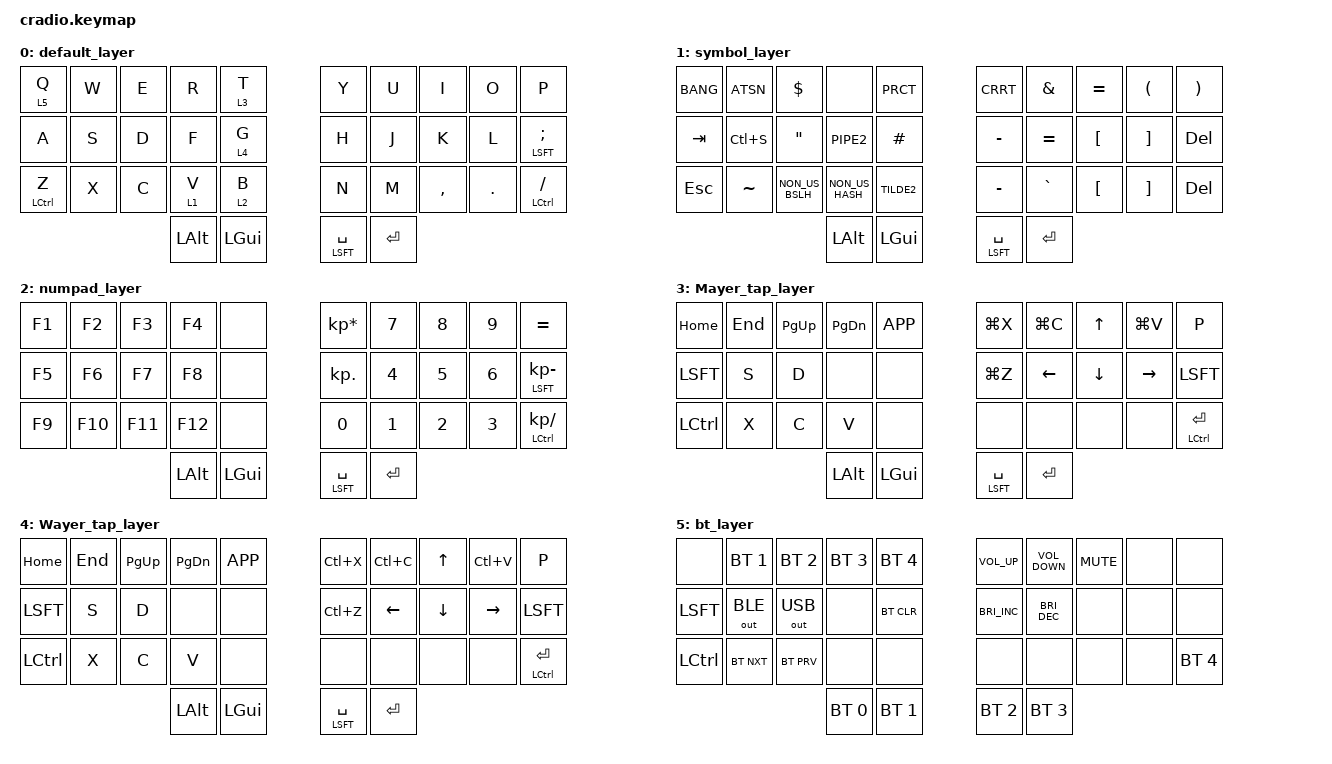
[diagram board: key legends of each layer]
/*
 * Copyright (c) 2020 The ZMK Contributors
 *
 * SPDX-License-Identifier: MIT
 */

#include <behaviors.dtsi>
#include <dt-bindings/zmk/keys.h>
#include <dt-bindings/zmk/bt.h>
#include <dt-bindings/zmk/outputs.h>


&mt {
    flavor = "tap-preferred";
   tapping_term_ms = <200>;
};
&lt {
   flavor = "hold-preferred";
    tapping_term_ms = <200>;
};
/ { 

    combos {
        compatible = "zmk,combos";
        combo_esc {
            timeout-ms = <50>;
            key-positions = <0 1>;
            bindings = <&kp ESC>;
        }; 

        combo_tilde {
            timeout-ms = <50>;
            key-positions = <1 2>;
            bindings = <&kp GRAVE>;
        };        
        combo_quote {
            timeout-ms = <50>;
            key-positions = <2 3>;
            bindings = <&kp SINGLE_QUOTE>;
        };        
        combo_bspc2 {
            timeout-ms = <50>;
            key-positions = <3 4>;
            bindings = <&kp BSPC>;
        };
           combo_tab {
            timeout-ms = <50>;
            key-positions = <10 11>;
            bindings = <&kp TAB>;
        };






        combo_bspc {
            timeout-ms = <50>;
            key-positions = <6 7>;
            bindings = <&kp BSPC>;
        };

           combo_del {
            timeout-ms = <50>;
            key-positions = <7 8>;
            bindings = <&kp DEL>;
        };
           combo_pipe {
            timeout-ms = <50>;
            key-positions = <8 9>;
            bindings = <&kp BSLH>;
        };
        
           combo_dash {
            timeout-ms = <50>;
            key-positions = <15 16>;
            bindings = <&kp MINUS>;
        };


           combo_qmrk {
            timeout-ms = <50>;
            key-positions = <17 18>;
            bindings = <&kp QMARK>;
        };


        combo_excl {
            timeout-ms = <50>;
            key-positions = <16 17 18>;
            bindings = <&kp EXCL>;
        };

           combo_lpar {
            timeout-ms = <50>;
            key-positions = <26 27>;
            bindings = <&kp LPAR>;
        };

           combo_rpar {
            timeout-ms = <50>;
            key-positions = <27 28>;
            bindings = <&kp RPAR>;
        };
           combo_lbr {
            timeout-ms = <50>;
            key-positions = <25 26 27>;
            bindings = <&kp LEFT_BRACKET>;
        };

           combo_rbr {
            timeout-ms = <50>;
            key-positions = <26 27 28>;
            bindings = <&kp RIGHT_BRACKET>;
        };
    };




        keymap {
                compatible = "zmk,keymap";            
       	default_layer {
		bindings = <
		&lt 5 Q           &kp W           &kp E           &kp R         &lt 3 T 		    &kp Y           &kp U           &kp I           &kp O       &kp P 
		&kp A      &kp S           &kp D           &kp F       &lt 4 G	   	    &kp H           &kp J           &kp K           &kp L       &mt LSFT SEMI
		&mt LCTRL Z     &kp X           &kp C           &lt 1 V       &lt 2 B 		    &kp N           &kp M           &kp CMMA        &kp DOT     &mt LCTRL FSLH
          				                                &kp LALT      &kp LGUI  		&mt LSFT SPACE       &kp RET 
		>;
		};

       	symbol_layer {
		bindings = <
        &kp BANG        &kp ATSN        &kp DLLR        &none        &kp PRCT    	    &kp CRRT        &kp AMPS        &kp EQUAL        &kp LPRN        &kp RPRN 
		&kp TAB         &kp LC(S)       &kp DQT         &kp PIPE2       &kp HASH		&kp MINUS       &kp EQL         &kp LBKT        &kp RBKT        &kp DEL 
		&kp ESC         &kp TILDE 	    &kp NON_US_BSLH &kp NON_US_HASH &kp TILDE2 		&kp MINUS       &kp GRAVE       &kp LBKT        &kp RBKT        &kp DEL 
					                    	            &kp LALT        &kp LGUI 		&mt LSFT SPACE       &kp RET
		>;
		};

		
		numpad_layer {
		bindings = <
		&kp F1	        &kp F2    &kp F3       &kp F4    &none          &kp KP_MULTIPLY &kp N7          &kp N8          &kp N9           &kp EQUAL
		&kp F5	&kp F6    &kp F7       &kp F8    &none          &kp KP_DOT      &kp N4          &kp N5          &kp N6           &mt LSFT KP_MINUS
		&kp F9	&kp F10   &kp F11      &kp F12   &none   		&kp N0          &kp N1          &kp N2          &kp N3           &mt LCTRL KP_DIVIDE
                                               &kp LALT  &kp LGUI  	    &mt LSFT SPACE       &kp RET
		>;
		};	
			
		
		Mayer_tap_layer {
		bindings = <		
		&kp HOME    &kp END      &kp PAGE_UP   &kp PAGE_DOWN  &kp K_APP	&kp LG(X)      &kp LG(C)      &kp UP       &kp LG(V)    &kp P 
		&kp LSFT    &kp S        &kp D         &none       &none		&kp LG(Z)      &kp LEFT       &kp DOWN     &kp RIGHT    &kp LSFT
		&kp LCTRL   &kp X        &kp C         &kp V       &none    	&none          &none          &none        &none        &mt LCTRL RET
					                           &kp LALT    &kp LGUI  	&mt LSFT SPACE       &kp RET
		>;
		};
		
		Wayer_tap_layer {
		bindings = <		
		&kp HOME    &kp END      &kp PAGE_UP   &kp PAGE_DOWN &kp K_APP	    &kp LC(X)      &kp LC(C)      &kp UP       &kp LC(V)    &kp P
		&kp LSFT    &kp S        &kp D        &none          &none		    &kp LC(Z)      &kp LEFT       &kp DOWN     &kp RIGHT    &kp LSFT
		&kp LCTRL   &kp X        &kp C        &kp V          &none    	    &none          &none          &none        &none        &mt LCTRL RET
                                            &kp LALT       &kp LGUI  	    &mt LSFT SPACE       &kp RET
		>;
		};


		bt_layer {
		bindings = <
		&none    &bt BT_SEL 1    &bt BT_SEL 2    &bt BT_SEL 3    &bt BT_SEL 4	&kp C_VOLUME_UP   &kp C_VOLUME_DOWN  &kp C_MUTE          &none           &none
		&kp LSFT        &out OUT_BLE           &out OUT_USB           &none           &bt BT_CLR	  	&kp C_BRIGHTNESS_INC      &kp C_BRIGHTNESS_DEC          &none           &none           &none
		&kp LCTRL       &bt BT_NXT      &bt BT_PRV      &none           &none   		&none          &none          &none    &none  &bt BT_SEL 4
                                                        &bt BT_SEL 0	&bt BT_SEL 1	&bt BT_SEL 2	&bt BT_SEL 3
		>;
		};	
        
	
	extra1 {
            status = "reserved";
        	};

        extra2 {
            status = "reserved";
        	};
  	};
};

